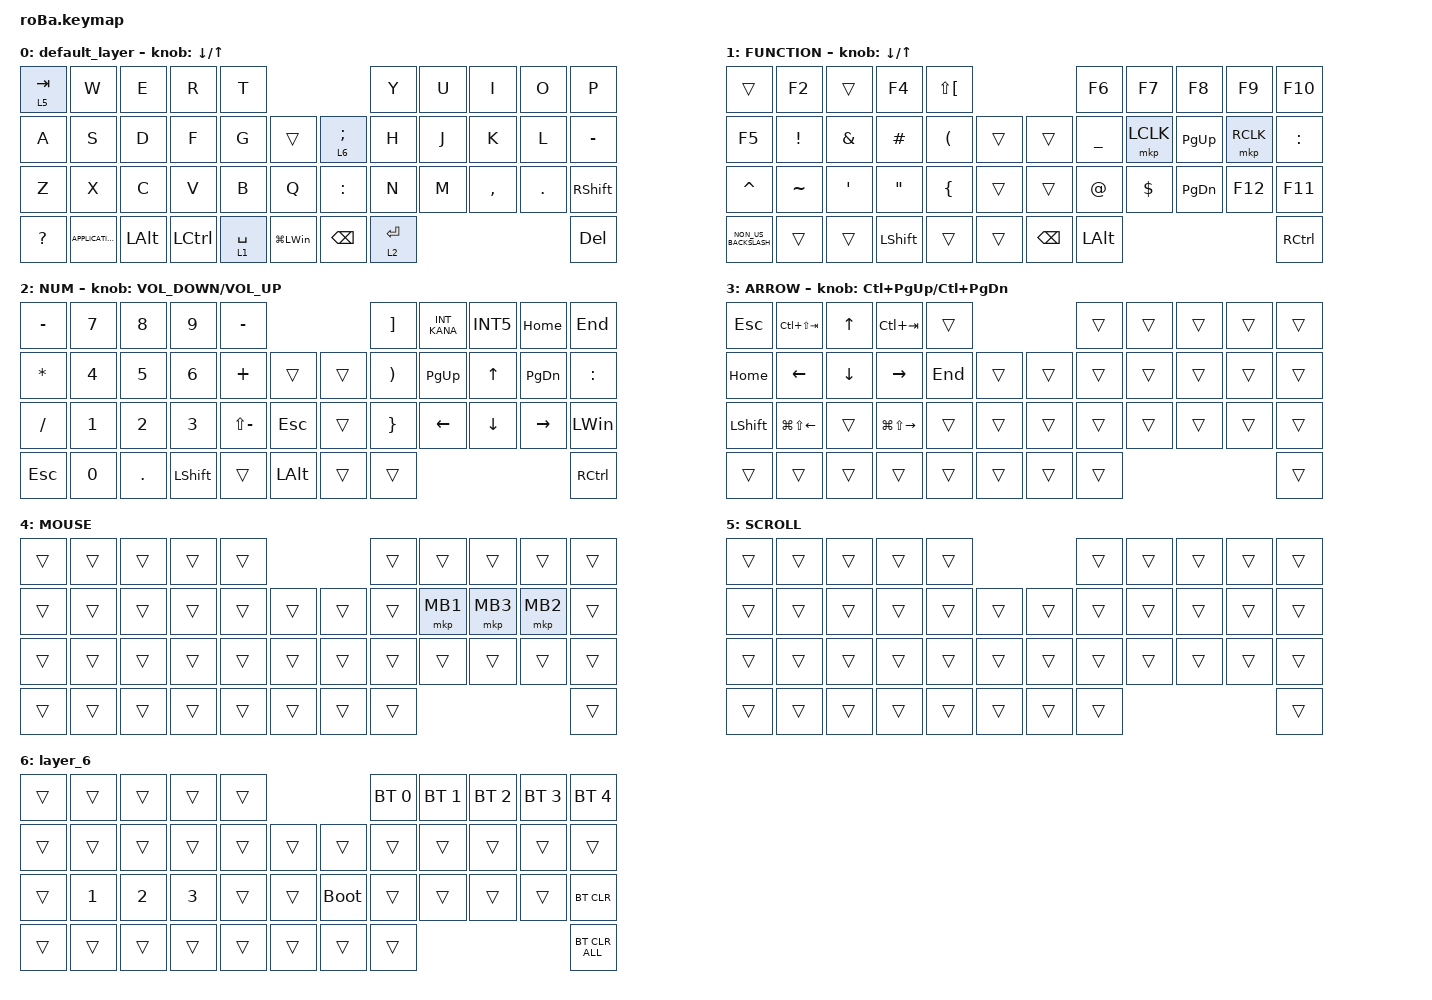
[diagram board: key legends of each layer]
#include <behaviors.dtsi>
#include <dt-bindings/zmk/bt.h>
#include <dt-bindings/zmk/keys.h>
#include <dt-bindings/zmk/pointing.h>

&mt {
    flavor = "balanced";
    quick-tap-ms = <0>;
};

&trackball {
    automouse-layer = <4>;
    scroll-layers = <5>;

    // arrows {
    //     layers = <3>;
    //     bindings =
    //         <&kp RIGHT_ARROW>,
    //         <&kp LEFT_ARROW>,
    //         <&kp UP_ARROW>,
    //         <&kp DOWN_ARROW>;
    //     tick = <10>;
    //     wait-ms = <5>;
    //     tap-ms = <5>;
    // };
};

/ {
    combos {
        compatible = "zmk,combos";

        tab {
            bindings = <&kp TAB>;
            key-positions = <11 12>;
        };

        shift_tab {
            bindings = <&kp LS(TAB)>;
            key-positions = <12 13>;
        };

        muhennkann {
            bindings = <&to_layer_0 INT_MUHENKAN>;
            key-positions = <11 10>;
        };

        double_quotation {
            bindings = <&kp DOUBLE_QUOTES>;
            key-positions = <20 21>;
        };

        eq {
            bindings = <&kp LS(MINUS)>;
            key-positions = <24 25>;
        };
    };

    macros {
        to_layer_0: to_layer_0 {
            compatible = "zmk,behavior-macro-one-param";
            #binding-cells = <1>;
            bindings = <&to 0 &macro_param_1to1 &kp MACRO_PLACEHOLDER>;
            label = "TO_LAYER_0";
        };
    };

    behaviors {
        lt_to_layer_0: lt_to_layer_0 {
            compatible = "zmk,behavior-hold-tap";
            label = "LAYER_TAP_TO_0";
            bindings = <&mo>, <&to_layer_0>;

            #binding-cells = <2>;
            tapping-term-ms = <200>;
        };
    };

    keymap {
        compatible = "zmk,keymap";

        default_layer {
            bindings = <
&lt 5 TAB     &kp W              &kp E         &kp R             &kp T                                             &kp Y        &kp U  &kp I      &kp O    &kp P
&kp A         &kp S              &kp D         &kp F             &kp G        &trans                &lt 6 SEMI     &kp H        &kp J  &kp K      &kp L    &kp MINUS
&kp Z         &kp X              &kp C         &kp V             &kp B        &kp Q                 &kp COLON      &kp N        &kp M  &kp COMMA  &kp DOT  &kp RIGHT_SHIFT
&kp QUESTION  &kp K_APPLICATION  &kp LEFT_ALT  &kp LEFT_CONTROL  &lt 1 SPACE  &kp LG(LEFT_WIN)      &kp BACKSPACE  &lt 2 ENTER                             &kp DEL
            >;

            sensor-bindings = <&inc_dec_kp DOWN UP>;
        };

        FUNCTION {
            bindings = <
&trans                &kp F2           &trans         &kp F4             &kp LS(LEFT_BRACKET)                             &kp F6          &kp F7      &kp F8         &kp F9     &kp F10
&kp F5                &kp EXCLAMATION  &kp AMPERSAND  &kp HASH           &kp LEFT_PARENTHESIS  &trans      &trans         &kp UNDERSCORE  &mkp LCLK   &kp PAGE_UP    &mkp RCLK  &kp COLON
&kp CARET             &kp TILDE        &kp SQT        &kp DOUBLE_QUOTES  &kp LEFT_BRACE        &trans      &trans         &kp AT_SIGN     &kp DOLLAR  &kp PAGE_DOWN  &kp F12    &kp F11
&kp NON_US_BACKSLASH  &trans           &trans         &kp LEFT_SHIFT     &trans                &trans      &kp BACKSPACE  &kp LEFT_ALT                                          &kp RCTRL
            >;

            sensor-bindings = <&inc_dec_kp DOWN UP>;
        };

        NUM {
            bindings = <
&kp MINUS     &kp NUMBER_7  &kp NUMBER_8  &kp NUMBER_9    &kp MINUS                                &kp RIGHT_BRACKET      &kp INT_KANA  &kp INT5      &kp HOME       &kp END
&kp ASTERISK  &kp NUMBER_4  &kp NUMBER_5  &kp NUMBER_6    &kp PLUS       &trans            &trans  &kp RIGHT_PARENTHESIS  &kp PAGE_UP   &kp UP_ARROW  &kp PAGE_DOWN  &kp COLON
&kp SLASH     &kp NUMBER_1  &kp NUMBER_2  &kp NUMBER_3    &kp LS(MINUS)  &kp ESCAPE        &trans  &kp RIGHT_BRACE        &kp LEFT      &kp DOWN      &kp RIGHT      &kp LEFT_WIN
&kp ESCAPE    &kp N0        &kp DOT       &kp LEFT_SHIFT  &trans         &kp LEFT_ALT      &trans  &trans                                                            &kp RCTRL
            >;

            sensor-bindings = <&inc_dec_kp C_VOLUME_DOWN C_VOLUME_UP>;
        };

        ARROW {
            bindings = <
&kp ESCAPE      &kp LC(LS(TAB))         &kp UP_ARROW    &kp LC(TAB)              &trans                       &trans  &trans  &trans  &trans  &trans
&kp HOME        &kp LEFT_ARROW          &kp DOWN_ARROW  &kp RIGHT_ARROW          &kp END  &trans      &trans  &trans  &trans  &trans  &trans  &trans
&kp LEFT_SHIFT  &kp LG(LS(LEFT_ARROW))  &trans          &kp LG(LS(RIGHT_ARROW))  &trans   &trans      &trans  &trans  &trans  &trans  &trans  &trans
&trans          &trans                  &trans          &trans                   &trans   &trans      &trans  &trans                          &trans
            >;

            sensor-bindings = <&inc_dec_kp LC(PAGE_UP) LC(PAGE_DOWN)>;
        };

        MOUSE {
            bindings = <
&trans  &trans  &trans  &trans  &trans                      &trans  &trans    &trans    &trans    &trans
&trans  &trans  &trans  &trans  &trans  &trans      &trans  &trans  &mkp MB1  &mkp MB3  &mkp MB2  &trans
&trans  &trans  &trans  &trans  &trans  &trans      &trans  &trans  &trans    &trans    &trans    &trans
&trans  &trans  &trans  &trans  &trans  &trans      &trans  &trans                                &trans
            >;
        };

        SCROLL {
            bindings = <
&trans  &trans  &trans  &trans  &trans                      &trans  &trans  &trans  &trans  &trans
&trans  &trans  &trans  &trans  &trans  &trans      &trans  &trans  &trans  &trans  &trans  &trans
&trans  &trans  &trans  &trans  &trans  &trans      &trans  &trans  &trans  &trans  &trans  &trans
&trans  &trans  &trans  &trans  &trans  &trans      &trans  &trans                          &trans
            >;
        };

        layer_6 {
            bindings = <
&trans  &trans        &trans        &trans        &trans                           &bt BT_SEL 0  &bt BT_SEL 1  &bt BT_SEL 2  &bt BT_SEL 3  &bt BT_SEL 4
&trans  &trans        &trans        &trans        &trans  &trans      &trans       &trans        &trans        &trans        &trans        &trans
&trans  &kp NUMBER_1  &kp NUMBER_2  &kp NUMBER_3  &trans  &trans      &bootloader  &trans        &trans        &trans        &trans        &bt BT_CLR
&trans  &trans        &trans        &trans        &trans  &trans      &trans       &trans                                                  &bt BT_CLR_ALL
            >;
        };
    };
};
